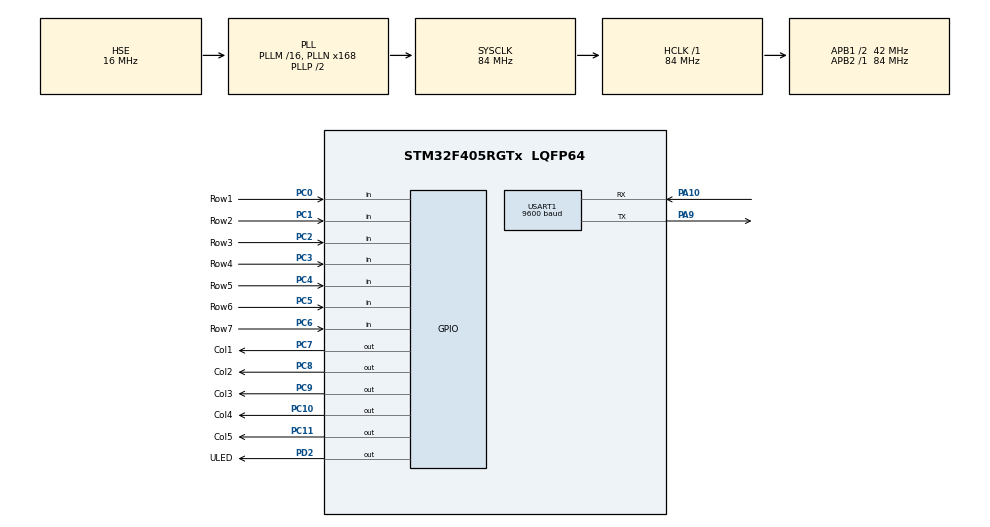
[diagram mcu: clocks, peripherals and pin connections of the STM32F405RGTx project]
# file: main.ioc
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Mcu.Family=STM32F4
Mcu.Name=STM32F405RGTx
Mcu.Package=LQFP64
NVIC.PriorityGroup=NVIC_PRIORITYGROUP_4
PA10.Mode=Asynchronous
PA10.Signal=USART1_RX
PA13.Mode=Serial_Wire
PA13.Signal=SYS_JTMS-SWDIO
PA14.Mode=Serial_Wire
PA14.Signal=SYS_JTCK-SWCLK
PA5.Signal=SPI1_SCK
PA9.Mode=Asynchronous
PA9.Signal=USART1_TX
PC0.GPIO_Label=Row1
PC0.GPIO_PuPd=GPIO_PULLDOWN
PC0.Signal=GPIO_Input
PC1.GPIO_Label=Row2
PC1.GPIO_PuPd=GPIO_PULLDOWN
PC1.Signal=GPIO_Input
PC10.GPIO_Label=Col4
PC10.Signal=GPIO_Output
PC11.GPIO_Label=Col5
PC11.Signal=GPIO_Output
PC14-OSC32_IN.Mode=LSE-External-Oscillator
PC14-OSC32_IN.Signal=RCC_OSC32_IN
PC15-OSC32_OUT.Mode=LSE-External-Oscillator
PC15-OSC32_OUT.Signal=RCC_OSC32_OUT
PC2.GPIO_Label=Row3
PC2.GPIO_PuPd=GPIO_PULLDOWN
PC2.Signal=GPIO_Input
PC3.GPIO_Label=Row4
PC3.GPIO_PuPd=GPIO_PULLDOWN
PC3.Signal=GPIO_Input
PC4.GPIO_Label=Row5
PC4.GPIO_PuPd=GPIO_PULLDOWN
PC4.Signal=GPIO_Input
PC5.GPIO_Label=Row6
PC5.GPIO_PuPd=GPIO_PULLDOWN
PC5.Signal=GPIO_Input
PC6.GPIO_Label=Row7
PC6.GPIO_PuPd=GPIO_PULLDOWN
PC6.Signal=GPIO_Input
PC7.GPIO_Label=Col1
PC7.Signal=GPIO_Output
PC8.GPIO_Label=Col2
PC8.Signal=GPIO_Output
PC9.GPIO_Label=Col3
PC9.Signal=GPIO_Output
PD2.GPIO_Label=ULED
PD2.Signal=GPIO_Output
PH0-OSC_IN.Mode=HSE-External-Oscillator
PH0-OSC_IN.Signal=RCC_OSC_IN
PH1-OSC_OUT.Mode=HSE-External-Oscillator
PH1-OSC_OUT.Signal=RCC_OSC_OUT
ProjectManager.HeapSize=0x200
ProjectManager.StackSize=0x400
ProjectManager.TargetToolchain=Makefile
RCC.48MHZClocksFreq_Value=42000000
RCC.AHBFreq_Value=84000000
RCC.APB1CLKDivider=RCC_HCLK_DIV2
RCC.APB1Freq_Value=42000000
RCC.APB1TimFreq_Value=84000000
RCC.APB2Freq_Value=84000000
RCC.APB2TimFreq_Value=84000000
RCC.CortexFreq_Value=84000000
RCC.HCLKFreq_Value=84000000
RCC.HSE_VALUE=16000000
RCC.HSI_VALUE=16000000
RCC.PLLN=168
RCC.PLLSourceVirtual=RCC_PLLSOURCE_HSE
RCC.RCC_RTC_Clock_SourceVirtual=RCC_RTCCLKSOURCE_LSE
RCC.SYSCLKFreq_VALUE=84000000
RCC.SYSCLKSource=RCC_SYSCLKSOURCE_PLLCLK
RCC.VCOOutputFreq_Value=168000000
USART1.BaudRate=9600
USART1.VirtualMode=VM_ASYNC
board=main

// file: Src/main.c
#include "main.h"
#include "stm32f4xx_hal.h"

/* USER CODE BEGIN Includes */
/* vim: set ai et ts=4 sw=4: */
#include <string.h>
#include <stdarg.h>
#include <stdbool.h>
#include <ctype.h>

/* USER CODE END Includes */

UART_HandleTypeDef huart1;

/* USER CODE BEGIN PV */
/* Private variables ---------------------------------------------------------*/

/* USER CODE END PV */

void SystemClock_Config(void);
static void MX_GPIO_Init(void);
static void MX_USART1_UART_Init(void);

/* USER CODE BEGIN PFP */
/* Private function prototypes -----------------------------------------------*/

/* USER CODE END PFP */

/* USER CODE BEGIN 0 */

void UART_Printf(const char* fmt, ...) {
    char buff[256];
    va_list args;
    va_start(args, fmt);
    vsnprintf(buff, sizeof(buff), fmt, args);
    HAL_UART_Transmit(&huart1, (uint8_t*)buff, strlen(buff),
                      HAL_MAX_DELAY);
    va_end(args);
}

void keyboard_prepare() {
    HAL_GPIO_WritePin(Col1_GPIO_Port, Col1_Pin, GPIO_PIN_RESET);
    HAL_GPIO_WritePin(Col2_GPIO_Port, Col2_Pin, GPIO_PIN_RESET);
    HAL_GPIO_WritePin(Col3_GPIO_Port, Col3_Pin, GPIO_PIN_RESET);
    HAL_GPIO_WritePin(Col4_GPIO_Port, Col4_Pin, GPIO_PIN_RESET);
    HAL_GPIO_WritePin(Col5_GPIO_Port, Col5_Pin, GPIO_PIN_RESET);
}

void change_column(uint8_t column) {
    switch(column) {
    case 1:
        HAL_GPIO_WritePin(Col5_GPIO_Port, Col5_Pin, GPIO_PIN_RESET);
        HAL_GPIO_WritePin(Col1_GPIO_Port, Col1_Pin, GPIO_PIN_SET);
        break;
    case 2:
        HAL_GPIO_WritePin(Col1_GPIO_Port, Col1_Pin, GPIO_PIN_RESET);
        HAL_GPIO_WritePin(Col2_GPIO_Port, Col2_Pin, GPIO_PIN_SET);
        break;
    case 3:
        HAL_GPIO_WritePin(Col2_GPIO_Port, Col2_Pin, GPIO_PIN_RESET);
        HAL_GPIO_WritePin(Col3_GPIO_Port, Col3_Pin, GPIO_PIN_SET);
        break;
    case 4:
        HAL_GPIO_WritePin(Col3_GPIO_Port, Col3_Pin, GPIO_PIN_RESET);
        HAL_GPIO_WritePin(Col4_GPIO_Port, Col4_Pin, GPIO_PIN_SET);
        break;
    default:
        HAL_GPIO_WritePin(Col4_GPIO_Port, Col4_Pin, GPIO_PIN_RESET);
        HAL_GPIO_WritePin(Col5_GPIO_Port, Col5_Pin, GPIO_PIN_SET);
        break;
    }
}

bool keyboard_read(uint8_t* out_row, uint8_t* out_col) {
    keyboard_prepare();
    for(uint8_t col = 1; col <= 5; col++) {
        change_column(col);
        if(HAL_GPIO_ReadPin(Row1_GPIO_Port, Row1_Pin) == GPIO_PIN_SET) {
            *out_col = col;
            *out_row = 1;
            return true;
        } else if(HAL_GPIO_ReadPin(Row2_GPIO_Port, Row2_Pin) == GPIO_PIN_SET) {
            *out_col = col;
            *out_row = 2;
            return true;
        } else if(HAL_GPIO_ReadPin(Row3_GPIO_Port, Row3_Pin) == GPIO_PIN_SET) {
            *out_col = col;
            *out_row = 3;
            return true;
        } else if(HAL_GPIO_ReadPin(Row4_GPIO_Port, Row4_Pin) == GPIO_PIN_SET) {
            *out_col = col;
            *out_row = 4;
            return true;
        } else if(HAL_GPIO_ReadPin(Row5_GPIO_Port, Row5_Pin) == GPIO_PIN_SET) {
            *out_col = col;
            *out_row = 5;
            return true;
        } else if(HAL_GPIO_ReadPin(Row6_GPIO_Port, Row6_Pin) == GPIO_PIN_SET) {
            *out_col = col;
            *out_row = 6;
            return true;
        } else if(HAL_GPIO_ReadPin(Row7_GPIO_Port, Row7_Pin) == GPIO_PIN_SET) {
            *out_col = col;
            *out_row = 7;
            return true;
        }

   }
   return false;
}

void init() {
    UART_Printf("Ready!\r\n");
    HAL_Delay(1);
}

char* buttons[][5] = {
    /* ROW 1 */ {"q", "e", "r", "u", "o"},
    /* ROW 2 */ {"w", "s", "g", "h", "l"},
    /* ROW 3 */ {"SYM", "d", "t", "y", "i"},
    /* ROW 4 */ {"a", "p", "RSHIFT", "ENTER", "DEL"},
    /* ROW 5 */ {"ALT", "x", "v", "b", "$"},
    /* ROW 6 */ {" ", "z", "c", "n", "m"},
    /* ROW 7 */ {"MIC", "LSHIFT", "f", "j", "k"},
};

char* buttons_alt[][5] = {
    /* ROW 1 */ {"#", "2", "3", "_", "+"},
    /* ROW 2 */ {"1", "4", "/", ":", "\""},
    /* ROW 3 */ {NULL, "5", "(", ")", "-"},
    /* ROW 4 */ {"*", "@", NULL, NULL, NULL},
    /* ROW 5 */ {NULL, "8", "?", "!", NULL},
    /* ROW 6 */ {NULL, "7", "9", ",", "."},
    /* ROW 7 */ {"0", NULL, "6", ";", "'"},
};

// button should be released before
// pressing next button
bool btn_released = true;
bool shift_pressed = false;
bool alt_pressed = false;
uint32_t line_length = 0;

void loop() {
    uint8_t row, col;

    HAL_GPIO_WritePin(ULED_GPIO_Port, ULED_Pin,
        shift_pressed ? GPIO_PIN_SET : GPIO_PIN_RESET);

    if(keyboard_read(&row, &col)) {
        if(btn_released) {
            btn_released = false;

            char buff[16];
            if(alt_pressed && (buttons_alt[row-1][col-1] != NULL)) {
                strncpy(buff, buttons_alt[row-1][col-1], sizeof(buff));
            } else {
                strncpy(buff, buttons[row-1][col-1], sizeof(buff));
            }

            if((strcmp(buff, "LSHIFT") == 0) || (strcmp(buff, "RSHIFT") == 0)) {
                shift_pressed = !shift_pressed;
                alt_pressed = false;
            } else if(strcmp(buff, "DEL") == 0) {
                if(line_length > 0) {
                    UART_Printf("\x08 \x08");
                    line_length--;
                    shift_pressed = false;
                    alt_pressed = false;
                }
            } else if(strcmp(buff, "ALT") == 0) {
                alt_pressed = true;
                shift_pressed = false;
                // ULED will blink once. Since shift_pressed is false it will be turned off shortly.
                HAL_GPIO_WritePin(ULED_GPIO_Port, ULED_Pin, GPIO_PIN_SET);
            } else if((strcmp(buff, "MIC") == 0) || (strcmp(buff, "SYM") == 0)) {
                // ignore
            } else if(strcmp(buff, "ENTER") == 0) {
                UART_Printf("\r\n");
                line_length = 0;
                shift_pressed = false;
                alt_pressed = false;
            } else { // regular button
                if(shift_pressed && isalpha(buff[0])) {
                    buff[0] = (char)toupper(buff[0]);
                }

                UART_Printf("%s", buff);
                line_length++;
                shift_pressed = false;
                alt_pressed = false;
            }
        }
    } else {
        btn_released = true;
    }

    HAL_Delay(10);
}

/* USER CODE END 0 */

int main(void)
{

  /* MCU Configuration----------------------------------------------------------*/

  /* Reset of all peripherals, Initializes the Flash interface and the Systick. */
  HAL_Init();

  /* Configure the system clock */
  SystemClock_Config();

  /* Initialize all configured peripherals */
  MX_GPIO_Init();
  MX_USART1_UART_Init();

  /* Infinite loop */
  /* USER CODE BEGIN WHILE */
  init();
  while (1)
  {
    loop();
  /* USER CODE END WHILE */

  }

}

/** System Clock Configuration
*/
void SystemClock_Config(void)
{

  RCC_OscInitTypeDef RCC_OscInitStruct;
  RCC_ClkInitTypeDef RCC_ClkInitStruct;

    /**Configure the main internal regulator output voltage
    */
  __HAL_RCC_PWR_CLK_ENABLE();

  __HAL_PWR_VOLTAGESCALING_CONFIG(PWR_REGULATOR_VOLTAGE_SCALE1);

    /**Initializes the CPU, AHB and APB busses clocks
    */
  RCC_OscInitStruct.OscillatorType = RCC_OSCILLATORTYPE_HSE;
  RCC_OscInitStruct.HSEState = RCC_HSE_ON;
  RCC_OscInitStruct.PLL.PLLState = RCC_PLL_ON;
  RCC_OscInitStruct.PLL.PLLSource = RCC_PLLSOURCE_HSE;
  RCC_OscInitStruct.PLL.PLLM = 16;
  RCC_OscInitStruct.PLL.PLLN = 168;
  RCC_OscInitStruct.PLL.PLLP = RCC_PLLP_DIV2;
  RCC_OscInitStruct.PLL.PLLQ = 4;
  if (HAL_RCC_OscConfig(&RCC_OscInitStruct) != HAL_OK)
  {
    _Error_Handler(__FILE__, __LINE__);
  }

    /**Initializes the CPU, AHB and APB busses clocks
    */
  RCC_ClkInitStruct.ClockType = RCC_CLOCKTYPE_HCLK|RCC_CLOCKTYPE_SYSCLK
                              |RCC_CLOCKTYPE_PCLK1|RCC_CLOCKTYPE_PCLK2;
  RCC_ClkInitStruct.SYSCLKSource = RCC_SYSCLKSOURCE_PLLCLK;
  RCC_ClkInitStruct.AHBCLKDivider = RCC_SYSCLK_DIV1;
  RCC_ClkInitStruct.APB1CLKDivider = RCC_HCLK_DIV2;
  RCC_ClkInitStruct.APB2CLKDivider = RCC_HCLK_DIV1;

  if (HAL_RCC_ClockConfig(&RCC_ClkInitStruct, FLASH_LATENCY_2) != HAL_OK)
  {
    _Error_Handler(__FILE__, __LINE__);
  }

    /**Configure the Systick interrupt time
    */
  HAL_SYSTICK_Config(HAL_RCC_GetHCLKFreq()/1000);

    /**Configure the Systick
    */
  HAL_SYSTICK_CLKSourceConfig(SYSTICK_CLKSOURCE_HCLK);

  /* SysTick_IRQn interrupt configuration */
  HAL_NVIC_SetPriority(SysTick_IRQn, 0, 0);
}

/* USART1 init function */
static void MX_USART1_UART_Init(void)
{

  huart1.Instance = USART1;
  huart1.Init.BaudRate = 9600;
  huart1.Init.WordLength = UART_WORDLENGTH_8B;
  huart1.Init.StopBits = UART_STOPBITS_1;
  huart1.Init.Parity = UART_PARITY_NONE;
  huart1.Init.Mode = UART_MODE_TX_RX;
  huart1.Init.HwFlowCtl = UART_HWCONTROL_NONE;
  huart1.Init.OverSampling = UART_OVERSAMPLING_16;
  if (HAL_UART_Init(&huart1) != HAL_OK)
  {
    _Error_Handler(__FILE__, __LINE__);
  }

}

/** Configure pins as
        * Analog
        * Input
        * Output
        * EVENT_OUT
        * EXTI
     PA5   ------> SPI1_SCK
*/
static void MX_GPIO_Init(void)
{

  GPIO_InitTypeDef GPIO_InitStruct;

  /* GPIO Ports Clock Enable */
  __HAL_RCC_GPIOC_CLK_ENABLE();
  __HAL_RCC_GPIOH_CLK_ENABLE();
  __HAL_RCC_GPIOA_CLK_ENABLE();
  __HAL_RCC_GPIOD_CLK_ENABLE();

  /*Configure GPIO pin Output Level */
  HAL_GPIO_WritePin(GPIOC, Col1_Pin|Col2_Pin|Col3_Pin|Col4_Pin
                          |Col5_Pin, GPIO_PIN_RESET);

  /*Configure GPIO pin Output Level */
  HAL_GPIO_WritePin(ULED_GPIO_Port, ULED_Pin, GPIO_PIN_RESET);

  /*Configure GPIO pins : Row1_Pin Row2_Pin Row3_Pin Row4_Pin
                           Row5_Pin Row6_Pin Row7_Pin */
  GPIO_InitStruct.Pin = Row1_Pin|Row2_Pin|Row3_Pin|Row4_Pin
                          |Row5_Pin|Row6_Pin|Row7_Pin;
  GPIO_InitStruct.Mode = GPIO_MODE_INPUT;
  GPIO_InitStruct.Pull = GPIO_PULLDOWN;
  HAL_GPIO_Init(GPIOC, &GPIO_InitStruct);

  /*Configure GPIO pin : PA5 */
  GPIO_InitStruct.Pin = GPIO_PIN_5;
  GPIO_InitStruct.Mode = GPIO_MODE_AF_PP;
  GPIO_InitStruct.Pull = GPIO_NOPULL;
  GPIO_InitStruct.Speed = GPIO_SPEED_FREQ_VERY_HIGH;
  GPIO_InitStruct.Alternate = GPIO_AF5_SPI1;
  HAL_GPIO_Init(GPIOA, &GPIO_InitStruct);

  /*Configure GPIO pins : Col1_Pin Col2_Pin Col3_Pin Col4_Pin
                           Col5_Pin */
  GPIO_InitStruct.Pin = Col1_Pin|Col2_Pin|Col3_Pin|Col4_Pin
                          |Col5_Pin;
  GPIO_InitStruct.Mode = GPIO_MODE_OUTPUT_PP;
  GPIO_InitStruct.Pull = GPIO_NOPULL;
  GPIO_InitStruct.Speed = GPIO_SPEED_FREQ_LOW;
  HAL_GPIO_Init(GPIOC, &GPIO_InitStruct);

  /*Configure GPIO pin : ULED_Pin */
  GPIO_InitStruct.Pin = ULED_Pin;
  GPIO_InitStruct.Mode = GPIO_MODE_OUTPUT_PP;
  GPIO_InitStruct.Pull = GPIO_NOPULL;
  GPIO_InitStruct.Speed = GPIO_SPEED_FREQ_LOW;
  HAL_GPIO_Init(ULED_GPIO_Port, &GPIO_InitStruct);

}

void _Error_Handler(char * file, int line)
{
  while(1)
  {
  }
}

/************************ (C) COPYRIGHT STMicroelectronics *****END OF FILE****/
